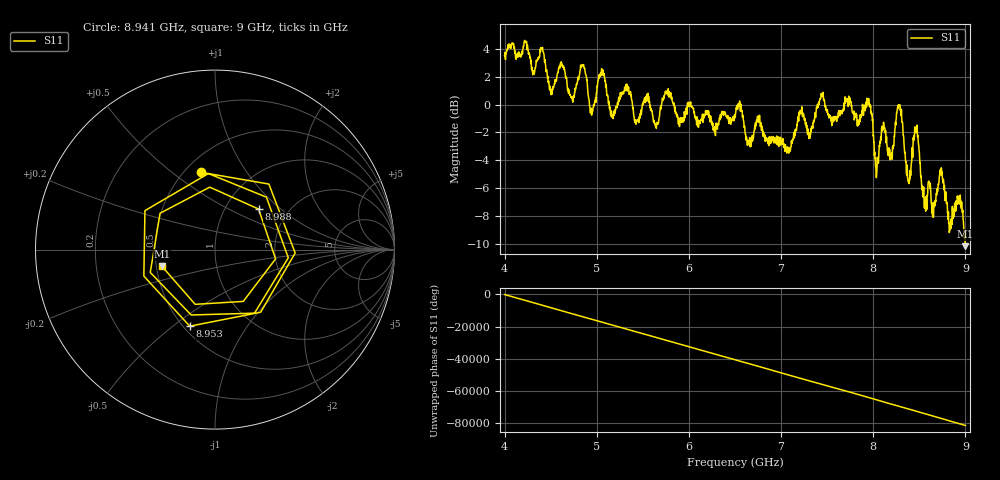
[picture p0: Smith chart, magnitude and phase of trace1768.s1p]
! Created with skrf 1.8.0 (http://scikit-rf.org).
# Hz S RI R 50.0
!freq ReS11 ImS11
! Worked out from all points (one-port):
!   1601 points, 4 GHz to 9 GHz, reference 50 ohm
!   lowest |S11| = -10.2 dB at 9 GHz (marker M1), VSWR 1.90, Z = 26.8 - j5.57 ohm
!   |S11| at or under -10 dB: 8.998635 GHz to end of sweep
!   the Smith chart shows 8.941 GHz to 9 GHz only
!   S11 on the Smith chart (normalised r, x): 8.941 GHz: 0.60, +0.64; 8.953 GHz: 0.54, -0.58; 8.988 GHz: 1.42, +0.72; 9 GHz: 0.54, -0.11
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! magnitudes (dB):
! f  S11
! 4 GHz  3.5
! 4.406 GHz  4.0
! 4.509 GHz  0.7
! 4.625 GHz  2.9
! 4.731 GHz  0.6
! 4.85 GHz  2.9
! 4.947 GHz  -0.6
! 5.056 GHz  2.1
! 5.162 GHz  -0.9
! 5.25 GHz  0.4
! 5.875 GHz  -0.7
! 6.5 GHz  -0.8
! 7.125 GHz  -2.5
! 7.75 GHz  0.3
! 7.956 GHz  0.1
! 8.038 GHz  -4.9
! 8.112 GHz  -1.3
! 8.2 GHz  -3.5
! 8.281 GHz  0.0
! 8.375 GHz  -5.3
! 8.459 GHz  -1.8
! 8.562 GHz  -7.1
! 8.738 GHz  -4.5
! 8.828 GHz  -9.1
! 8.941 GHz  -7.2
! 8.953 GHz  -7.0
! 8.988 GHz  -9.6
! 9 GHz  -10.2
